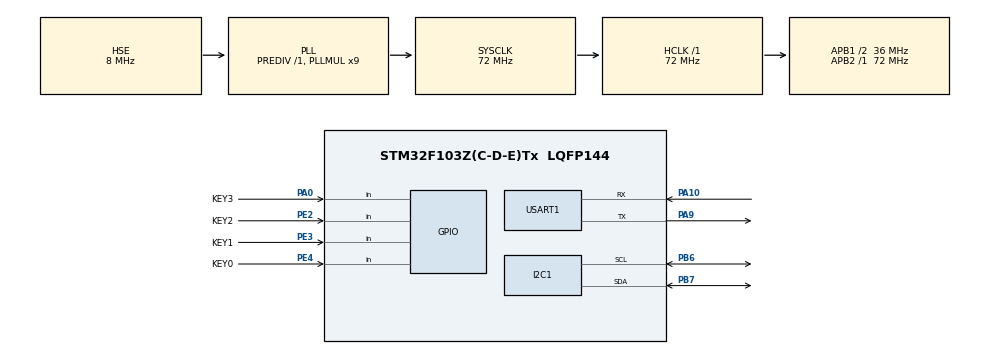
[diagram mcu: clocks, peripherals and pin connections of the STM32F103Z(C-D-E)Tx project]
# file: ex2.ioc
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Mcu.Family=STM32F1
Mcu.Name=STM32F103Z(C-D-E)Tx
Mcu.Package=LQFP144
NVIC.PriorityGroup=NVIC_PRIORITYGROUP_4
OSC_IN.Mode=HSE-External-Oscillator
OSC_IN.Signal=RCC_OSC_IN
OSC_OUT.Mode=HSE-External-Oscillator
OSC_OUT.Signal=RCC_OSC_OUT
PA0-WKUP.GPIO_Label=KEY3
PA0-WKUP.GPIO_PuPd=GPIO_PULLDOWN
PA0-WKUP.Signal=GPIO_Input
PA10.Mode=Asynchronous
PA10.Signal=USART1_RX
PA13.Mode=Serial_Wire
PA13.Signal=SYS_JTMS-SWDIO
PA14.Mode=Serial_Wire
PA14.Signal=SYS_JTCK-SWCLK
PA9.Mode=Asynchronous
PA9.Signal=USART1_TX
PB6.Mode=I2C
PB6.Signal=I2C1_SCL
PB7.Mode=I2C
PB7.Signal=I2C1_SDA
PC14-OSC32_IN.Mode=LSE-External-Oscillator
PC14-OSC32_IN.Signal=RCC_OSC32_IN
PC15-OSC32_OUT.Mode=LSE-External-Oscillator
PC15-OSC32_OUT.Signal=RCC_OSC32_OUT
PE2.GPIO_Label=KEY2
PE2.GPIO_PuPd=GPIO_PULLUP
PE2.Signal=GPIO_Input
PE3.GPIO_Label=KEY1
PE3.GPIO_PuPd=GPIO_PULLUP
PE3.Signal=GPIO_Input
PE4.GPIO_Label=KEY0
PE4.GPIO_PuPd=GPIO_PULLUP
PE4.Signal=GPIO_Input
ProjectManager.HeapSize=0x200
ProjectManager.StackSize=0x400
ProjectManager.TargetToolchain=MDK-ARM V5.32
RCC.AHBFreq_Value=72000000
RCC.APB1CLKDivider=RCC_HCLK_DIV2
RCC.APB1Freq_Value=36000000
RCC.APB1TimFreq_Value=72000000
RCC.APB2Freq_Value=72000000
RCC.APB2TimFreq_Value=72000000
RCC.HCLKFreq_Value=72000000
RCC.PLLMUL=RCC_PLL_MUL9
RCC.PLLSourceVirtual=RCC_PLLSOURCE_HSE
RCC.RTCClockSelection=RCC_RTCCLKSOURCE_LSE
RCC.SYSCLKFreq_VALUE=72000000
RCC.SYSCLKSource=RCC_SYSCLKSOURCE_PLLCLK
RCC.USBFreq_Value=72000000
RTC.Format=RTC_FORMAT_BIN
USART1.VirtualMode=VM_ASYNC
VP_RTC_VS_RTC_Activate.Mode=RTC_Enabled
board=custom

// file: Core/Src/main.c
/* USER CODE BEGIN Header */
/**
  ******************************************************************************
  * @file           : main.c
  * @brief          : Main program body
  ******************************************************************************
  * @attention
  *
  * Copyright (c) 2025 STMicroelectronics.
  * All rights reserved.
  *
  * This software is licensed under terms that can be found in the LICENSE file
  * in the root directory of this software component.
  * If no LICENSE file comes with this software, it is provided AS-IS.
  *
  ******************************************************************************
  */
/* USER CODE END Header */
#include "main.h"
#include "i2c.h"
#include "rtc.h"
#include "usart.h"
#include "gpio.h"

/* USER CODE BEGIN Includes */
#include "pcf8574.h"
#include "stdio.h"

/* USER CODE END Includes */

/* USER CODE BEGIN PV */
RTC_TimeTypeDef nowTime;
RTC_DateTypeDef nowDate;
uint8_t pastTimeSec = 0;

const char* weekDays[7] = {
    "Sun",    // 0
    "Mon",    // 1
    "Tue",    // 2
    "Wed",    // 3
    "Thu",    // 4
    "Fri",    // 5
    "Sat",    // 6
};

const char* months[12] = {
    "Jan",    // 0
    "Feb",    // 1
    "Mar",    // 2
    "Apr",    // 3
    "May",    // 4
    "Jun",    // 5
    "Jul",    // 6
    "Aug",    // 7
    "Sep",    // 8
    "Oct",    // 9
    "Nov",    // 10
    "Dec",    // 11
};

const char* modes[7] = {
    "   ",       // 0
    " Hr",    // 1
    "Min",    // 2
    "Sec",    // 3
    " Mo",    // 4
    "Day",    // 5
    " Yr",    // 6
};

extern Key_t key[4];

struct tm time_set =
    {
    .tm_year = 2025 - 1900,
    .tm_mon = 7 - 1,      // July
    .tm_mday = 10,
    .tm_hour = 12,
    .tm_min = 0,
    .tm_sec = 0
    };

/* USER CODE END PV */

void SystemClock_Config(void);

int main(void)
{

  /* MCU Configuration--------------------------------------------------------*/

  /* Reset of all peripherals, Initializes the Flash interface and the Systick. */
  HAL_Init();

  /* USER CODE BEGIN Init */
//  RTC_ClearBackupDomain();

  /* USER CODE END Init */

  /* Configure the system clock */
  SystemClock_Config();

  /* Initialize all configured peripherals */
  MX_GPIO_Init();
  MX_I2C1_Init();
  MX_USART1_UART_Init();
  MX_RTC_Init();
  /* USER CODE BEGIN 2 */
  pcf8574_init();
//  RTC_SetUnixTime(mktime(&time_set));
  int8_t mode = 0;

  int16_t year = 0;
  int8_t month = 0;
  int8_t day = 0;
  int8_t weekday = 0;
  int8_t hour = 0;
  int8_t minute = 0;
  int8_t second = 0;

  time_t time_unix;
  struct tm *time_gmt;

  /* USER CODE END 2 */

  /* Infinite loop */
  while (1)
  {

    /* USER CODE BEGIN 3 */

      if(mode == 0)
      {
          time_unix = RTC_GetUnixTime();
      }
      else
      {
          time_set.tm_year = year - 1900;
          time_set.tm_mon = month;
          time_set.tm_mday = day;
          time_set.tm_hour = hour;
          time_set.tm_min = minute;
          time_set.tm_sec = second;
          time_unix = mktime(&time_set);
          RTC_SetUnixTime(time_unix);
      }

      time_gmt = gmtime_embedded(&time_unix);
      year = time_gmt->tm_year + 1900;
      month = time_gmt->tm_mon;
      day = time_gmt->tm_mday;
      weekday = time_gmt->tm_wday;
      hour = time_gmt->tm_hour;
      minute = time_gmt->tm_min;
      second = time_gmt->tm_sec;

      char lcd_buffer[17];

      pcf8574_cursor(0,0);
      sprintf(lcd_buffer, "%02d:%02d:%02d    %s", hour, minute, second, modes[mode]);
      pcf8574_send_string(lcd_buffer);

      pcf8574_cursor(1,0);
      sprintf(lcd_buffer, "%s %02d %s %d", months[month], day, weekDays[weekday], year);
      pcf8574_send_string(lcd_buffer);

      keyScan();

      if(key[2].pressed_event == 1)
      {
          key[2].pressed_event = 0;
          mode--;
          if(mode < 0)
          {
              mode = 6;
          }
      }

      if(key[0].pressed_event == 1)
      {
          key[0].pressed_event = 0;
          mode++;
          if(mode > 6)
          {
              mode = 0;
          }
      }

      switch (mode)
      {
          case 1:
          {
              if(key[1].pressed_event == 1)
              {
                  key[1].pressed_event = 0;
                  hour--;
              }

              if(key[3].pressed_event == 1)
              {
                  key[3].pressed_event = 0;
                  hour++;
              }

              break;
          }

          case 2:
          {
              if(key[1].pressed_event == 1)
              {
                  key[1].pressed_event = 0;
                  minute--;
              }

              if(key[3].pressed_event == 1)
              {
                  key[3].pressed_event = 0;
                  minute++;
              }

              break;
          }

          case 3:
          {
              if(key[1].pressed_event == 1)
              {
                  key[1].pressed_event = 0;
                  second--;
              }

              if(key[3].pressed_event == 1)
              {
                  key[3].pressed_event = 0;
                  second++;
              }

              break;
          }

          case 4:
          {
              if(key[1].pressed_event == 1)
              {
                  key[1].pressed_event = 0;
                  month--;
              }

              if(key[3].pressed_event == 1)
              {
                  key[3].pressed_event = 0;
                  month++;
              }

              break;
          }

          case 5:
          {
              if(key[1].pressed_event == 1)
              {
                  key[1].pressed_event = 0;
                  day--;
              }

              if(key[3].pressed_event == 1)
              {
                  key[3].pressed_event = 0;
                  day++;
              }

              break;
          }

          case 6:
          {
              if(key[1].pressed_event == 1)
              {
                  key[1].pressed_event = 0;
                  year--;
                  if(year < 1970)
                  {
                      year = 2099;
                  }
              }

              if(key[3].pressed_event == 1)
              {
                  key[3].pressed_event = 0;
                  year++;
                  if(year > 2099)
                  {
                      year = 1970;
                  }
              }

              break;
          }

          default:
          {
              // Do nothing
          }
      }

  }
  /* USER CODE END 3 */
}

void SystemClock_Config(void)
{
  RCC_OscInitTypeDef RCC_OscInitStruct = {0};
  RCC_ClkInitTypeDef RCC_ClkInitStruct = {0};
  RCC_PeriphCLKInitTypeDef PeriphClkInit = {0};

  /** Initializes the RCC Oscillators according to the specified parameters
  * in the RCC_OscInitTypeDef structure.
  */
  RCC_OscInitStruct.OscillatorType = RCC_OSCILLATORTYPE_HSE|RCC_OSCILLATORTYPE_LSE;
  RCC_OscInitStruct.HSEState = RCC_HSE_ON;
  RCC_OscInitStruct.HSEPredivValue = RCC_HSE_PREDIV_DIV1;
  RCC_OscInitStruct.LSEState = RCC_LSE_ON;
  RCC_OscInitStruct.HSIState = RCC_HSI_ON;
  RCC_OscInitStruct.PLL.PLLState = RCC_PLL_ON;
  RCC_OscInitStruct.PLL.PLLSource = RCC_PLLSOURCE_HSE;
  RCC_OscInitStruct.PLL.PLLMUL = RCC_PLL_MUL9;
  if (HAL_RCC_OscConfig(&RCC_OscInitStruct) != HAL_OK)
  {
    Error_Handler();
  }

  /** Initializes the CPU, AHB and APB buses clocks
  */
  RCC_ClkInitStruct.ClockType = RCC_CLOCKTYPE_HCLK|RCC_CLOCKTYPE_SYSCLK
                              |RCC_CLOCKTYPE_PCLK1|RCC_CLOCKTYPE_PCLK2;
  RCC_ClkInitStruct.SYSCLKSource = RCC_SYSCLKSOURCE_PLLCLK;
  RCC_ClkInitStruct.AHBCLKDivider = RCC_SYSCLK_DIV1;
  RCC_ClkInitStruct.APB1CLKDivider = RCC_HCLK_DIV2;
  RCC_ClkInitStruct.APB2CLKDivider = RCC_HCLK_DIV1;

  if (HAL_RCC_ClockConfig(&RCC_ClkInitStruct, FLASH_LATENCY_2) != HAL_OK)
  {
    Error_Handler();
  }
  PeriphClkInit.PeriphClockSelection = RCC_PERIPHCLK_RTC;
  PeriphClkInit.RTCClockSelection = RCC_RTCCLKSOURCE_LSE;
  if (HAL_RCCEx_PeriphCLKConfig(&PeriphClkInit) != HAL_OK)
  {
    Error_Handler();
  }
}

/* USER CODE BEGIN 4 */
int fputc(int ch, FILE *f) {
    HAL_UART_Transmit(&huart1, (uint8_t *)&ch, 1, HAL_MAX_DELAY);
    return ch;
}

/* USER CODE END 4 */

void Error_Handler(void)
{
  __disable_irq();
  while (1)
  {
  }
}
